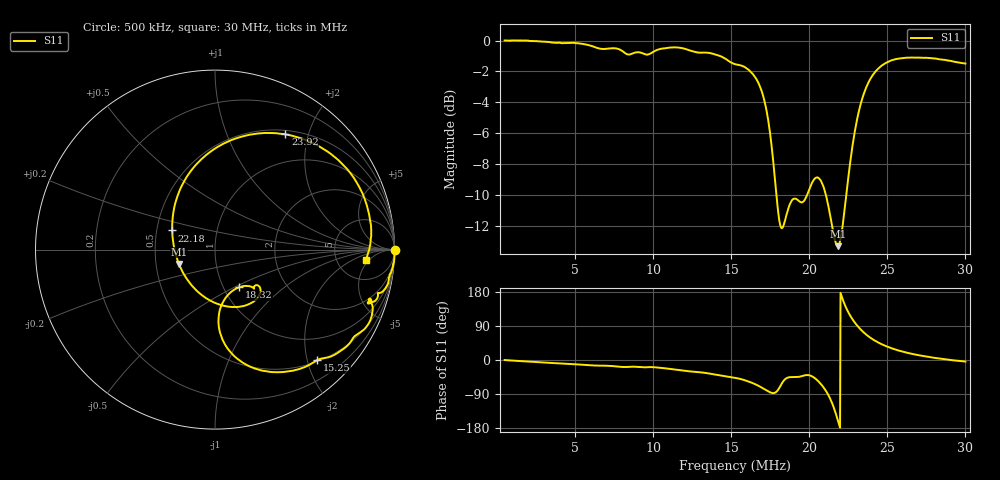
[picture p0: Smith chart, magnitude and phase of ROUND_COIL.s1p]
!Keysight Technologies N9918A: A.12.56
!Date: Monday, 21 July 2025 04:02:55
!TimeZone: (UTC-08:00) Pacific Time (US & Canada)!Model: N9918A
!Serial: MY56072139
!GPS Latitude:
!GPS Longitude:
!GPS TimeStamp: 0001-01-01 00:00:00Z
!GPS Seconds Since Last Read: 0
!CHECKSUM:0949394562
!Correction: S11(ON U)
!S1P File: Measurement: S11:
# Hz S DB R 50
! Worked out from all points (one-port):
!   1001 points, 500 kHz to 30 MHz, reference 50 ohm
!   lowest |S11| = -13.3 dB at 21.83 MHz (marker M1), VSWR 1.55, Z = 32.9 - j5.48 ohm
!   |S11| at or under -10 dB: 17.9 MHz to 19.86 MHz (1.961 MHz wide, 10.4 % of centre); 21.07 MHz to 22.37 MHz (1.304 MHz wide, 6 % of centre)
!   S11 on the Smith chart (normalised r, x): 500 kHz: open; 15.25 MHz: 0.53, -2.19; 18.32 MHz: 1.18, -0.53; 22.18 MHz: 0.60, +0.14; 23.92 MHz: 0.55, +1.64; 30 MHz: 10, -4
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500000  0.00 -0.0
4187500  -0.17 -9.1
7875000  -0.59 -17.9
9940000  -0.78 -18.8
1.15625e7  -0.45 -25.9
1.3598e7  -0.80 -35.7
1.525e7  -1.53 -47.1
1.6076e7  -1.86 -56.2
1.69315e7  -3.20 -72.1
1.72855e7  -4.62 -80.8
1.76395e7  -7.24 -87.1
1.80525e7  -11.41 -76.0
1.8318e7  -12.07 -57.4
1.89375e7  -10.29 -44.9
1.98225e7  -10.10 -39.7
2.04125e7  -8.89 -49.6
2.08255e7  -9.23 -67.3
2.115e7  -10.34 -86.8
2.14745e7  -12.05 -114.7
2.18285e7  -13.31 -158.4
2.21825e7  -11.65 155.9
2.2625e7  -7.89 117.0
2.32445e7  -4.31 82.7
2.3923e7  -2.47 58.6
2.49555e7  -1.42 36.0
2.63125e7  -1.11 18.6
2.8112e7  -1.17 5.1
3e7  -1.49 -4.1
